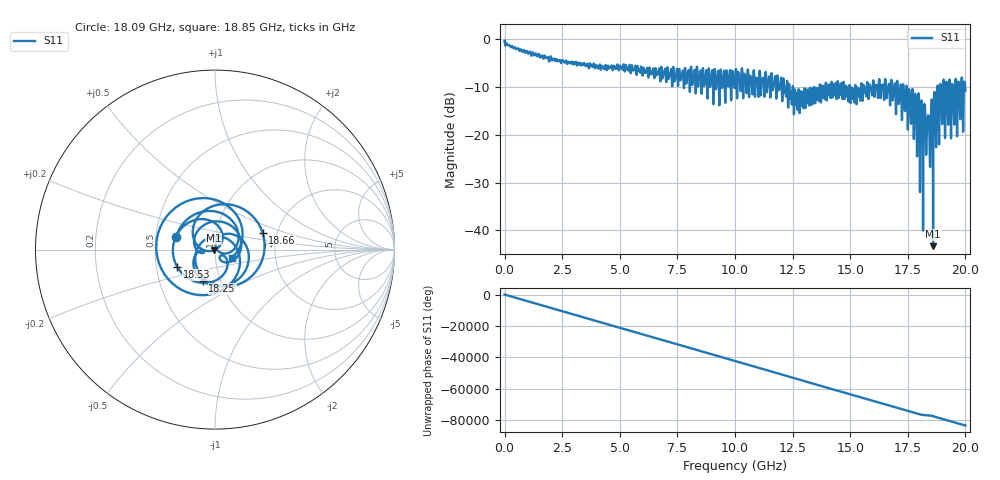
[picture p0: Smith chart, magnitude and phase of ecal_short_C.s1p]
! MS46122B
! 2250307/22442219
! 6/14/2025 10:18:15 AM
! C:\USERS\SPARKY\DOCUMENTS\VNA_DATA\JUNE14_2025\295K\ECAL_SHORT_C.S1P
! CHANNEL.1
! TR.MEASUREMENT
! RAW.DATA
# GHZ S RI R 50.0
! FREQ.GHZ  S11RE  S11IM
!; PortSelection: Port_1
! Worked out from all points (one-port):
!   10001 points, 1 MHz to 20 GHz, reference 50 ohm
!   lowest |S11| = -43.3 dB at 18.6 GHz (marker M1), VSWR 1.01, Z = 49.4 - j0.35 ohm
!   |S11| at or under -10 dB: 12.52 GHz to 13.43 GHz (911.6 MHz wide, 7.03 % of centre); 13.44 GHz to 13.67 GHz (233.5 MHz wide, 1.72 % of centre); 17.46 GHz to 18.79 GHz (1.329 GHz wide, 7.33 % of centre) (the widest 3 of 78)
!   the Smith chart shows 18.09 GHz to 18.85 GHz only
!   S11 on the Smith chart (normalised r, x): 18.09 GHz: 0.64, +0.09; 18.25 GHz: 0.83, -0.30; 18.53 GHz: 0.64, -0.13; 18.66 GHz: 1.68, +0.34; 18.85 GHz: 1.20, -0.11
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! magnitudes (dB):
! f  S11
! 1 MHz  -0.5
! 2.501 GHz  -4.3
! 5.001 GHz  -5.6
! 7.501 GHz  -7.1
! 10 GHz  -8.9
! 11.66 GHz  -9.3
! 12.5 GHz  -10.2
! 15 GHz  -12.2
! 16.33 GHz  -10.9
! 17.5 GHz  -18.8
! 17.77 GHz  -18.9
! 17.83 GHz  -11.6
! 17.9 GHz  -24.5
! 17.96 GHz  -11.3
! 18.03 GHz  -30.2
! 18.09 GHz  -12.9
! 18.16 GHz  -35.3
! 18.25 GHz  -14.6
! 18.3 GHz  -24.2
! 18.53 GHz  -12.7
! 18.6 GHz  -43.3
! 18.66 GHz  -11.0
! 18.72 GHz  -21.3
! 18.79 GHz  -9.8
! 18.85 GHz  -19.7
! 19.25 GHz  -17.7
! 19.45 GHz  -9.6
! 20 GHz  -10.7
